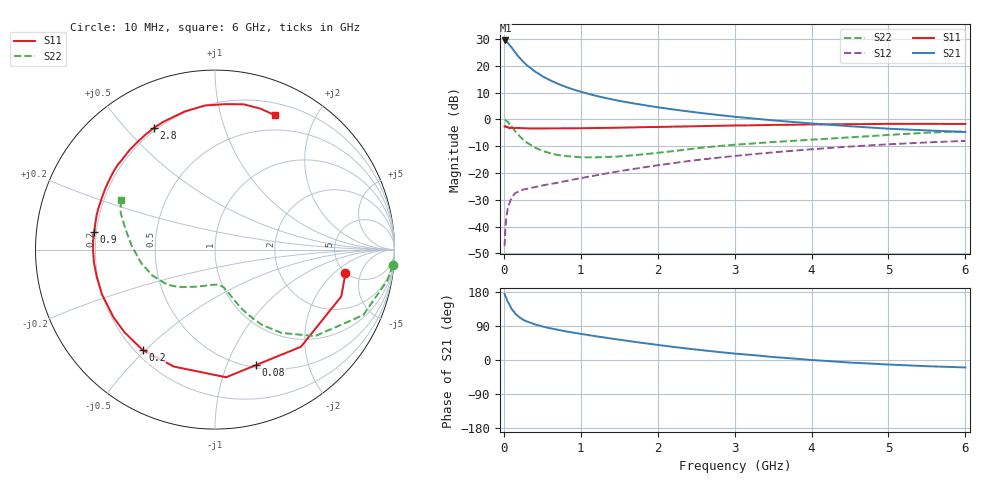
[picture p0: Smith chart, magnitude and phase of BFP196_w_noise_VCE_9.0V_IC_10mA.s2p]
! Infineon Technologies  Discrete & RF Semiconductors
! BFP196
! VCE =  9.0 V,  IC =  10 mA
! Common Emitter S-Parameters:  Jan 2017
# GHz  S  MA  R  50
!  f  S11  S21  S12  S22
! GHz  MAG  ANG  MAG  ANG  MAG  ANG  MAG  ANG
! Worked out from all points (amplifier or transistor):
!   77 points, 10 MHz to 6 GHz, reference 50 ohm
!   highest |S21| = 29.4 dB at 20 MHz (marker M1)
!   |S21| within 3 dB of that: start of sweep to 110.9 MHz
!   unconditionally stable (mu >= 1): 995.3 MHz to 2.357 GHz
!   at 130 MHz: K = 0.23, MSG = 26.9 dB, |S12| = -28.2 dB
!   at 2.2 GHz: K = 1.02, MAG = 9.2 dB, |S12| = -16.4 dB
!   at 6 GHz: K = 0.91, MSG = 1.6 dB, |S12| = -8.0 dB
!   lowest NFmin = 0.99 dB at 450 MHz
!   S11 on the Smith chart (normalised r, x): 10 MHz: 4.94, -2.87; 80 MHz: 0.53, -1.28; 200 MHz: 0.23, -0.49; 900 MHz: 0.19, +0.07; 2.8 GHz: 0.19, +0.60; 6 GHz: 0.33, +1.49
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0.01  0.7389 -10.3  29.52 174.4  0.0043 82.9  0.9945 -5.0
0.02  0.7504 -20.4  29.65 169.1  0.0094 83.0  0.9755 -10.2
0.05  0.7227 -48.5  27.03 154.0  0.0213 67.8  0.9029 -23.8
0.08  0.6827 -70.4  23.72 143.4  0.0291 58.2  0.795 -33.2
0.1  0.7139 -85.0  22.07 134.8  0.0345 54.3  0.7377 -40.8
0.15  0.6908 -109.3  17.53 121.9  0.0423 45.0  0.5942 -51.4
0.2  0.6897 -125.8  14.29 113.1  0.0453 40.3  0.4934 -58.1
0.25  0.683 -137.6  11.95 106.3  0.0488 37.5  0.4196 -62.2
0.3  0.6798 -146.2  10.2 101.6  0.0506 36.6  0.3665 -65.4
0.4  0.6774 -158.3  7.886 94.1  0.0542 37.4  0.2991 -69.3
0.5  0.6761 -167.1  6.385 88.5  0.0583 38.5  0.2591 -72.1
0.6  0.6784 -173.8  5.375 83.8  0.0621 40.4  0.2339 -74.8
0.7  0.6791 -179.1  4.626 79.8  0.0656 42.4  0.2163 -76.9
0.9  0.6799 171.7  3.619 72.3  0.0752 45.9  0.2017 -82.5
1.1  0.6866 164.0  2.99 65.8  0.0851 48.8  0.1955 -88.5
1.5  0.6992 151.0  2.214 53.7  0.1077 50.9  0.2033 -102.3
2.1  0.7248 133.3  1.604 37.3  0.1456 50.7  0.2458 -122.5
2.8  0.7586 116.6  1.201 20.9  0.1936 46.4  0.3183 -141.2
3.1  0.7699 110.2  1.084 15.3  0.2141 43.7  0.3436 -148.7
4.1  0.8051 92.3  0.819 -1.3  0.2829 33.5  0.4255 -172.5
5.1  0.824 77.5  0.659 -12.8  0.3478 21.3  0.5217 165.2
6  0.82 65.9  0.58 -19.7  0.3972 10.4  0.5941 152.1
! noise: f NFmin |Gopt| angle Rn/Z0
0.45  0.99  0.35  147  0.06
0.9  1.29  0.5  174  0.05
1.9  2.4  0.7  -139  0.25
2.4  2.9  0.73  -123  0.68
